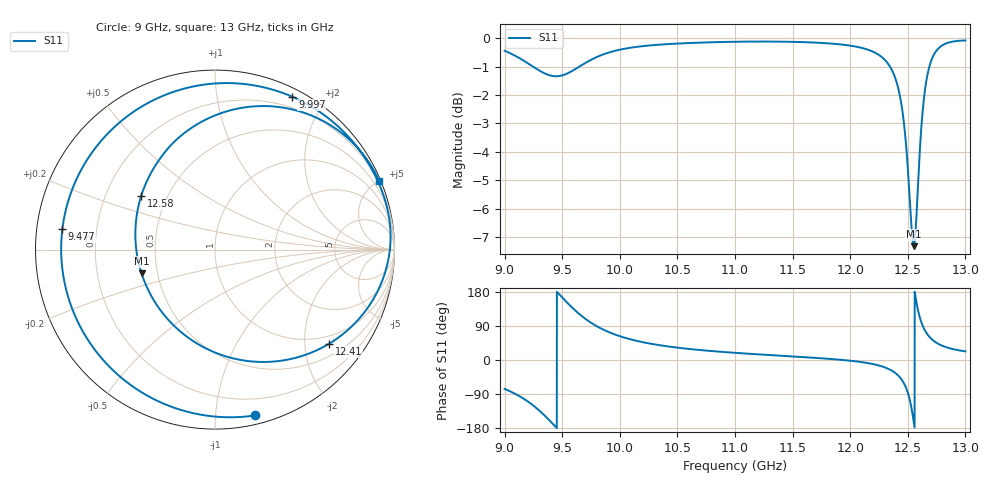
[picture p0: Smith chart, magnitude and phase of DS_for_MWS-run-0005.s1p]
! TOUCHSTONE file generated by CST DESIGN STUDIO
! Date and time: Tue Feb  4 16:06:17 2025
! Project name: C:\Work\MatlabApps\UnitCellOptimizationMatlab\CST\unitcell.cst
! Tree item: Tasks\Sweep1\SPara1\S-Parameters
! Header version: 2024
! Port assignment regex: !\s*Touchstone port\s*([0-9]+)\s*=\s*(CST MWS port|CST DES external port|CST DES block port)\s*(.+)\s* \(\"(.*)\"\)(\s*mode\s*([0-9]+))?.*
! Touchstone port assignment:
! Touchstone port 1 = CST DES external port 1 ("")
# GHz S MA R 50
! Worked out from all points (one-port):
!   4001 points, 9 GHz to 13 GHz, reference 50 ohm
!   lowest |S11| = -7.3 dB at 12.55 GHz (marker M1), VSWR 2.51, Z = 20.3 - j6.61 ohm
!   |S11| at or under -10 dB: nowhere
!   S11 on the Smith chart (normalised r, x): 9 GHz: 0.07, -1.27; 9.477 GHz: 0.08, +0.07; 9.997 GHz: 0.09, +1.62; 12.41 GHz: 0.79, -2.57; 12.58 GHz: 0.36, +0.29; 13 GHz: 0.12, +4.97
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9  0.9505 -76.5
9.142  0.9192 -97.7
9.253  0.8896 -121.1
9.38  0.8619 -156.4
9.477  0.8581 172.5
9.5  0.8602 165.0
9.606  0.8805 132.7
9.708  0.9062 107.1
9.997  0.9544 63.1
10  0.9547 62.8
10.214  0.9693 46.1
10.5  0.9787 32.6
11  0.9859 18.9
11.5  0.9855 9.4
12  0.9705 -1.9
12.278  0.9252 -17.1
12.412  0.8241 -39.5
12.457  0.7353 -56.4
12.5  0.5906 -85.9
12.525  0.4879 -115.8
12.551  0.4303 -162.1
12.58  0.5081 144.1
12.609  0.657 107.7
12.639  0.7796 83.9
12.685  0.888 62.0
12.736  0.9427 48.0
12.837  0.98 33.4
13  0.9911 22.7
